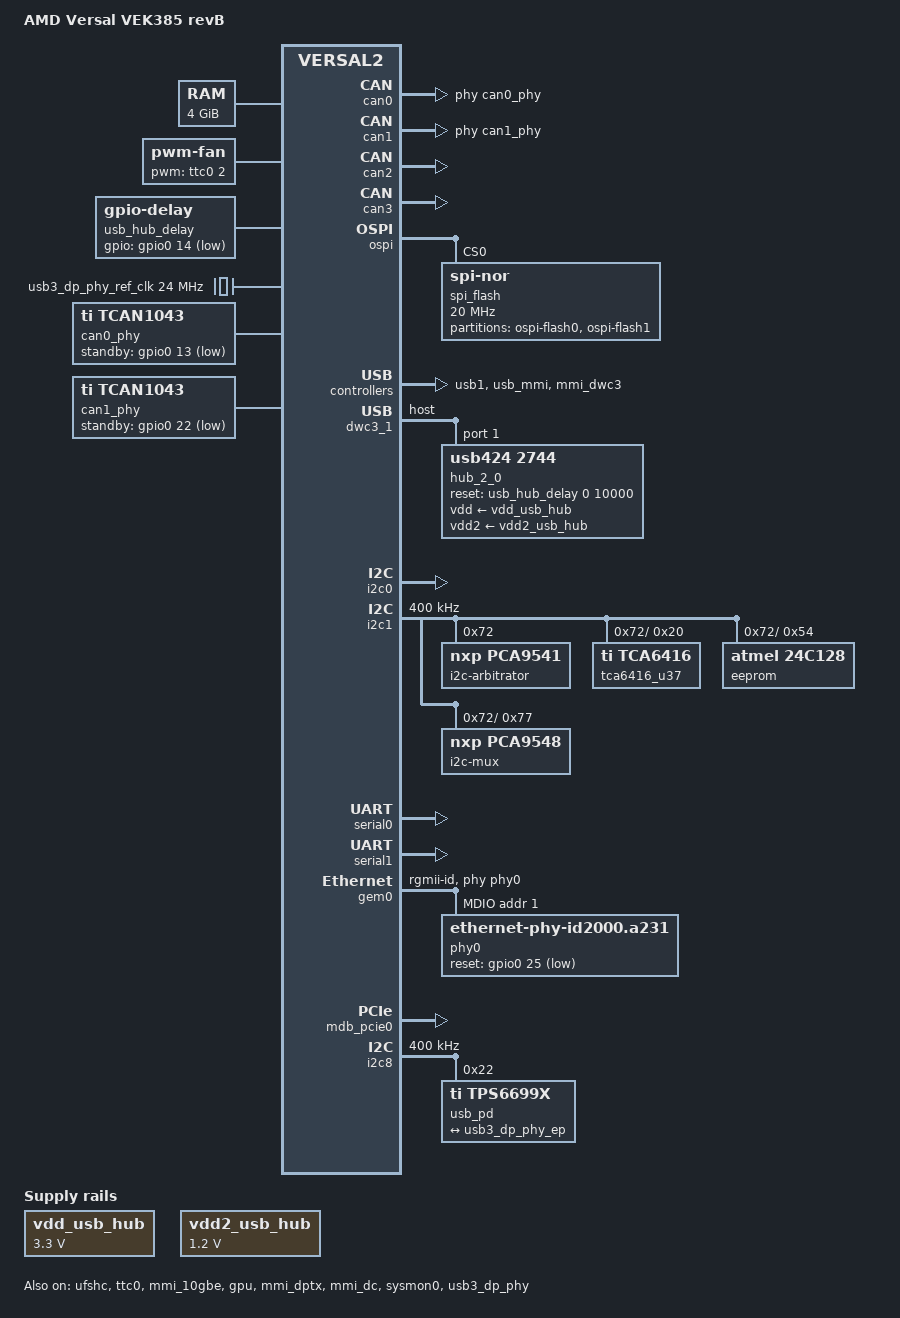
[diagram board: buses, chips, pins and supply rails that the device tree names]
// SPDX-License-Identifier: GPL-2.0
/*
 * dts file for AMD VEK385 revB
 *
 * Copyright (C) 2024 - 2026, Advanced Micro Devices, Inc.
 *
 * Michal Simek <michal.simek@amd.com>
 */

#include "versal2.dtsi"
#include "versal2-scmi.dtsi"

#include <dt-bindings/gpio/gpio.h>
#include <dt-bindings/net/ti-dp83867.h>

/ {
	compatible = "amd,versal2-vek385-revB", "amd,versal2-vek385", "amd,versal2";
	model = "AMD Versal VEK385 revB";

	chosen {
		bootargs = "earlycon=pl011,mmio32,0xf1930000 console=ttyAMA1,115200";
		stdout-path = "serial1:115200n8";
	};

	aliases {
		nvmem0 = &eeprom;
	};

	memory@0 {
		reg = <0 0 0 0x80000000>, <0x8 0 0 0x80000000>;
		device_type = "memory";
	};

	reserved-memory {
		#address-cells = <2>;
		#size-cells = <2>;
		ranges;

		/* TF-A, TEE, RPUs */
		res: memory@0 {
			no-map;
			reg = <0 0 0 0x20000000>;
		};

		cma: linux,cma {
			compatible = "shared-dma-pool";
			reusable;
			size = <0x0 0x20000000>;
			alignment = <0x0 0x20000000>;
			alloc-ranges = <0x0 0x0 0x0 0x80000000>;
			linux,cma-default;
		};
	};

	pwm-fan {
		compatible = "pwm-fan";
		status = "okay";
		pwms = <&ttc0 2 40000 1>;
	};

	usb_hub_delay: enable-delay {
		compatible = "gpio-delay";
		#gpio-cells = <3>;
		gpio-controller;
		gpios = <&gpio0 14 GPIO_ACTIVE_LOW>;
	};

	vdd_usb_hub: regulator-vdd-usb-hub {
		compatible = "regulator-fixed";
		regulator-name = "vdd_usb_hub";
		regulator-min-microvolt = <3300000>;
		regulator-max-microvolt = <3300000>;
		regulator-always-on;
		regulator-boot-on;
	};

	vdd2_usb_hub: regulator-vdd2-usb-hub {
		compatible = "regulator-fixed";
		regulator-name = "vdd2_usb_hub";
		regulator-min-microvolt = <1200000>;
		regulator-max-microvolt = <1200000>;
		regulator-always-on;
		regulator-boot-on;
	};

	/* CLK95314 OUT3 provides a dedicated 24 MHz LVDS reference clock to the USB3 PHY */
	usb3_dp_phy_ref_clk: usb3-phy-ref-clk {
		bootph-all;
		compatible = "fixed-clock";
		#clock-cells = <0>;
		clock-frequency = <24000000>;
	};

	/* TCAN1043 on can0; nEN is hardwired, nSTB on PSXC_MIO13 */
	can0_phy: can-phy0 {
		compatible = "ti,tcan1043";
		#phy-cells = <0>;
		max-bitrate = <5000000>;
		standby-gpios = <&gpio0 13 GPIO_ACTIVE_LOW>;
	};

	/* TCAN1043 on can1; nEN is hardwired, nSTB on PSXC_MIO22 */
	can1_phy: can-phy1 {
		compatible = "ti,tcan1043";
		#phy-cells = <0>;
		max-bitrate = <5000000>;
		standby-gpios = <&gpio0 22 GPIO_ACTIVE_LOW>;
	};
};

/* u272 - TPS66993BAR usb, i2c, DP */

&can0 { /* PMC_MIO16-17 */
	status = "okay";
	phys = <&can0_phy>;
};

&can1 { /* PMC_MIO18-19 */
	status = "okay";
	phys = <&can1_phy>;
};

&can2 { /* PMC_MIO20-21 */
	status = "okay";
};

&can3 { /* PMC_MIO22-23 */
	status = "okay";
};

&gpio0 {
	status = "okay";
};

&ospi { /* PMC_MIO0-10, MIO12 */
	status = "okay";
	reset-names = "qspi";
	#address-cells = <1>;
	#size-cells = <0>;

	spi_flash: flash@0 {
		compatible = "jedec,spi-nor"; /* u25 */
		spi-max-frequency = <20000000>; /* FIXME maybe wrong */
		spi-rx-bus-width = <8>;
		spi-tx-bus-width = <8>;
		cdns,tslch-ns = <1>;
		cdns,tchsh-ns = <1>;
		cdns,tsd2d-ns = <0>;
		cdns,tshsl-ns = <0>;
		cdns,read-delay = <0>;
		reg = <0>;
		no-wp;

		partitions {
			#size-cells = <1>;
			#address-cells = <1>;
			compatible = "fixed-partitions";

			partition@0 {
				reg = <0x0 0x200000>;
				label = "ospi-flash0";
			};

			partition@1 {
				reg = <0x200000 0x3e00000>;
				label = "ospi-flash1";
			};
		};
	};
};

&ufshc { /* PMC_MIO24-25 */
	status = "okay";
	dma-coherent;
};

&usb1 { /* PMC_MIO27-39 */
	status = "okay";
	dma-coherent;
};

&dwc3_1 {
	status = "okay";
	dr_mode = "host";
	maximum-speed = "high-speed";
	dma-coherent;
	#address-cells = <1>;
	#size-cells = <0>;

	/* 2.0 hub on port 1 */
	hub_2_0: hub@1 {
		compatible = "usb424,2744";
		reg = <1>;
		reset-gpios = <&usb_hub_delay 0 10000 10000>;
		vdd-supply = <&vdd_usb_hub>;
		vdd2-supply = <&vdd2_usb_hub>;
	};
	/* USB 3.0 is not connected */
	/* port 0 u109 USB-SD converter */
	/* port 1/2 to connector */
};

&usb_mmi {
	status = "okay";
};

&mmi_dwc3 {
	status = "okay";
};

&i2c0 { /* PMC_MIO42-43 */
	status = "okay";
	/* board_i2c0 - FMC */
};

&i2c1 { /* PMC_MIO44-45 */
	status = "okay";
	#address-cells = <1>;
	#size-cells = <0>;
	bootph-all;
	clock-frequency = <400000>;

	i2c-arbitrator@72 { /* u161 */
		compatible = "nxp,pca9541";
		bootph-all;
		reg = <0x72>;

		/* board_i2c1 */
		i2c-arb {
			#address-cells = <1>;
			#size-cells = <0>;
			/*
			 * WARNING: Potential Conflict!
			 * The TCA6416 GPIO expander device is currently owned by SC as well.
			 * This design results in two software components potentially conflicting
			 * over control of the device. While no immediate issues are observed
			 * due to limited interactions.
			 * FIXME - The schematics should be revised to avoid conflicts.
			 */
			tca6416_u37: gpio@20 {
				compatible = "ti,tca6416";
				reg = <0x20>;
				#gpio-cells = <0x02>;
				gpio-controller;
			};
			eeprom: eeprom@54 { /* u35 - also at address 0x5C */
				compatible = "atmel,24c128";
				bootph-all;
				reg = <0x54>;
				/* wp via SC */
			};
			i2c-mux@77 { /* u253 */
				compatible = "nxp,pca9548";
				#address-cells = <1>;
				#size-cells = <0>;
				reg = <0x77>;
				i2c-mux-idle-disconnect;
				i2c@0 {
					#address-cells = <1>;
					#size-cells = <0>;
					reg = <0>;
					/* qsfp1 */
				};
				i2c@1 {
					#address-cells = <1>;
					#size-cells = <0>;
					reg = <1>;
					/* sfp */
				};
				i2c@3 {
					#address-cells = <1>;
					#size-cells = <0>;
					reg = <3>;
					/* pcie_rp */
				};
				/* 4 - 7 not connected */
			};
		};
	};
};

&serial0 { /* LPD_MIO16-17 */
	status = "okay";
};

&serial1 { /* PMC_MIO46-47 */
	status = "okay";
};

&ttc0 { /* PMC_MIO49 FAN_PWM */
	status = "okay";
	#pwm-cells = <3>;
};

&adma0 {
	dma-coherent;
};

&adma1 {
	dma-coherent;
};

&adma2 {
	dma-coherent;
};

&adma3 {
	dma-coherent;
};

&adma4 {
	dma-coherent;
};

&adma5 {
	dma-coherent;
};

&adma6 {
	dma-coherent;
};

&adma7 {
	dma-coherent;
};

&gem0 { /* MDIO PMC_MIO50/51, MIO0-11 */
	status = "okay";
	phy-handle = <&phy0>;
	phy-mode = "rgmii-id";
	dma-coherent;

	mdio: mdio {
		#address-cells = <1>;
		#size-cells = <0>;

		phy0: ethernet-phy@1 { /* u112 */
			reg = <1>;
			compatible = "ethernet-phy-id2000.a231";
			ti,rx-internal-delay = <DP83867_RGMIIDCTL_2_25_NS>;
			ti,tx-internal-delay = <DP83867_RGMIIDCTL_2_75_NS>;
			ti,fifo-depth = <DP83867_PHYCR_FIFO_DEPTH_4_B_NIB>;
			ti,dp83867-rxctrl-strap-quirk;
			reset-assert-us = <100>;
			reset-deassert-us = <280>;
			reset-gpios = <&gpio0 25 GPIO_ACTIVE_LOW>;
		};
	};
};

&mdb_pcie0 {
	status = "okay";
	pcie@0,0 {
		device_type = "pci";
		reg = <0x0 0x0 0x0 0x0 0x0>;
		reset-gpios = <&tca6416_u37 7 GPIO_ACTIVE_LOW>;
		#address-cells = <3>;
		#size-cells = <2>;
		ranges;
	};
};

&mmi_10gbe {
	status = "okay";
	phy-mode = "10gbase-r";
	fixed-link {
		speed = <10000>;
		full-duplex;
	};
};

&gpu {
	status = "okay";
};

&mmi_dptx {
	status = "okay";
};

&mmi_dcdma {
	status = "okay";
};

&mmi_dc {
	status = "okay";
};

&sysmon0 {
	status = "okay";
};

/* TI USB-C PD (TPS6699x) on PMC I2C + Versal combo USB-C / DP TX PHY. */
&i2c8 {
	status = "okay";
	#address-cells = <1>;
	#size-cells = <0>;
	clock-frequency = <400000>;

	usb_pd: usb-pd@22 {
		compatible = "ti,tps6699x";
		reg = <0x22>;

		connector {
			compatible = "usb-c-connector";
			label = "USB-C";
			data-role = "dual";

			ports {
				#address-cells = <1>;
				#size-cells = <0>;

				port@1 {
					reg = <1>;

					tipd_connector_ep: endpoint {
						remote-endpoint = <&usb3_dp_phy_ep>;
					};
				};
			};
		};
	};
};

&usb3_dp_phy {
	status = "okay";
	clocks = <&usb3_dp_phy_ref_clk>;

	port {
		usb3_dp_phy_ep: endpoint {
			remote-endpoint = <&tipd_connector_ep>;
		};
	};
};
